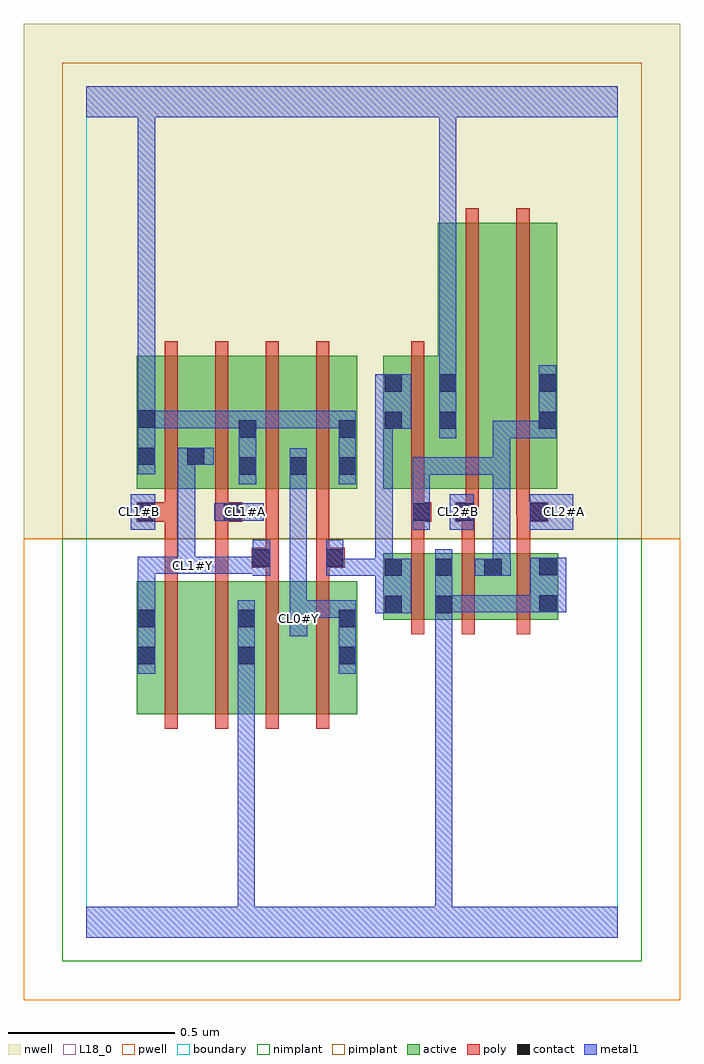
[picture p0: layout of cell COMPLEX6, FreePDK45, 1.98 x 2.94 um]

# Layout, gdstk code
import gdstk
lib = gdstk.Library(unit=1e-6, precision=1e-09)
def R(c, l, rs):  # rectangles x0, y0, x1, y1
    for r in rs: c.add(gdstk.rectangle(r[:2], r[2:], *l))
def A(c, l, x, y, w, h, nx, ny, dx, dy):  # array of equal rectangles
    R(c, l, [(x+i*dx, y+j*dy, x+i*dx+w, y+j*dy+h) for i in range(nx) for j in range(ny)])
active = (1, 0)
pwell = (2, 0)
nwell = (3, 0)
nimplant = (4, 0)
pimplant = (5, 0)
poly = (9, 0)
contact = (10, 0)
metal1 = (11, 0)
L18_0 = (18, 0)
boundary = (235, 0)

complex6 = lib.new_cell('COMPLEX6')
R(complex6, active, [(0.152,0.672,0.332,1.072), (0.332,0.672,0.512,1.072), (0.452,0.672,0.636,1.072), (0.636,0.672,0.816,1.072), (0.152,0.756,0.212,1.072), (0.452,0.756,0.512,1.072), (0.756,0.756,0.816,1.072), (0.894,0.956,0.954,1.156), (0.894,0.956,1.106,1.156), (1.046,0.956,1.106,1.156), (1.046,0.956,1.254,1.156), (1.194,0.956,1.254,1.156), (1.194,0.956,1.42,1.156), (1.36,0.956,1.42,1.156), (0.152,1.35,0.212,1.644), (0.152,1.35,0.36,1.75), (0.3,1.35,0.516,1.75), (0.456,1.35,0.516,1.644), (0.456,1.35,0.668,1.75), (0.608,1.35,0.668,1.644), (0.608,1.35,0.816,1.75), (0.756,1.35,0.816,1.644), (0.894,1.35,0.954,1.698), (0.894,1.35,1.118,1.75), (1.058,1.35,1.238,2.15), (1.058,1.35,1.118,1.698), (1.238,1.35,1.418,2.15), (1.358,1.35,1.418,2.044), (0.3,1.418,0.36,1.644)])
R(complex6, pwell, [(-0.188,-0.188,1.788,1.2)])
R(complex6, nwell, [(-0.188,1.2,1.788,2.748)])
R(complex6, nimplant, [(-0.072,-0.072,1.672,1.2)])
R(complex6, pimplant, [(-0.072,1.2,1.672,2.632)])
A(complex6, poly, 0.236, 0.628, 0.04, 0.488, 4, 2, 0.152, 0.678)
R(complex6, poly, [(0.978,0.912,1.018,1.2), (1.13,0.912,1.17,1.2), (1.296,0.912,1.336,1.2), (0.236,1.076,0.276,1.29), (0.388,1.076,0.428,1.29), (0.54,1.076,0.58,1.152), (0.692,1.076,0.732,1.152), (0.498,1.112,0.58,1.172), (0.692,1.112,0.732,1.152), (0.692,1.112,0.732,1.152), (0.692,1.112,0.778,1.172), (0.54,1.132,0.58,1.172), (0.54,1.132,0.58,1.172), (0.54,1.132,0.58,1.346), (0.692,1.132,0.732,1.346), (0.978,1.16,1.018,1.29), (1.13,1.16,1.17,1.29), (1.296,1.16,1.336,1.29), (0.152,1.25,0.276,1.31), (0.236,1.25,0.276,1.29), (0.236,1.25,0.276,1.29), (0.388,1.25,0.428,1.29), (0.388,1.25,0.428,1.29), (0.388,1.25,0.47,1.31), (0.978,1.25,1.018,1.29), (0.978,1.25,1.018,1.29), (0.978,1.25,1.038,1.31), (1.11,1.25,1.17,1.31), (1.296,1.25,1.39,1.31), (0.236,1.27,0.276,1.346), (0.388,1.27,0.428,1.346), (0.978,1.27,1.018,1.346), (1.13,1.27,1.17,1.31), (1.13,1.27,1.182,1.31), (1.142,1.27,1.182,1.346), (1.294,1.27,1.334,1.346), (1.294,1.27,1.336,1.31), (1.296,1.27,1.336,1.31), (0.978,1.306,1.018,1.794), (1.142,1.306,1.182,2.194), (1.294,1.306,1.334,2.194)])
R(complex6, contact, [(0.156,0.822,0.208,0.874), (0.456,0.822,0.508,0.874), (0.76,0.822,0.812,0.874), (0.156,0.934,0.208,0.986), (0.456,0.934,0.508,0.986), (0.76,0.934,0.812,0.986), (0.898,0.976,0.95,1.028), (1.05,0.976,1.102,1.028), (1.364,0.978,1.416,1.03), (0.898,1.088,0.95,1.14), (1.05,1.088,1.102,1.14), (1.198,1.088,1.25,1.14), (1.364,1.09,1.416,1.142), (0.502,1.116,0.554,1.168), (0.722,1.116,0.774,1.168), (0.156,1.254,0.208,1.306), (0.414,1.254,0.466,1.306), (0.982,1.254,1.034,1.306), (1.114,1.254,1.166,1.306), (1.334,1.254,1.386,1.306), (0.46,1.392,0.512,1.444), (0.612,1.392,0.664,1.444), (0.76,1.392,0.812,1.444), (0.156,1.422,0.208,1.474), (0.304,1.422,0.356,1.474), (0.46,1.504,0.512,1.556), (0.76,1.504,0.812,1.556), (0.898,1.53,0.95,1.582), (1.062,1.53,1.114,1.582), (1.362,1.53,1.414,1.582), (0.156,1.534,0.208,1.586), (0.898,1.642,0.95,1.694), (1.062,1.642,1.114,1.694), (1.362,1.642,1.414,1.694)])
R(complex6, metal1, [(0,0,1.6,0.092), (0.456,0.04,0.508,0.092), (0.456,0.04,0.508,0.092), (0.456,0.04,0.508,0.846), (1.05,0.04,1.102,0.092), (1.05,0.04,1.102,0.092), (1.05,0.04,1.102,0.092), (1.05,0.04,1.102,0.092), (1.05,0.04,1.102,0.092), (1.05,0.04,1.102,0.092), (1.05,0.04,1.102,0.092), (1.05,0.04,1.102,0.092), (1.05,0.04,1.102,0.092), (1.05,0.04,1.102,0.092), (1.05,0.04,1.102,0.092), (1.05,0.04,1.102,0.092), (1.05,0.04,1.102,0.092), (1.05,0.04,1.102,0.092), (1.05,0.04,1.102,1), (0.156,0.794,0.208,1.014), (0.456,0.794,0.508,0.846), (0.456,0.794,0.508,0.846), (0.456,0.794,0.508,0.846), (0.456,0.794,0.508,0.846), (0.456,0.794,0.508,0.846), (0.456,0.794,0.508,0.846), (0.456,0.794,0.508,0.846), (0.456,0.794,0.508,0.846), (0.456,0.794,0.508,0.846), (0.456,0.794,0.508,0.846), (0.456,0.794,0.508,1.014), (0.76,0.794,0.812,1.014), (0.612,0.906,0.666,1.014), (1.05,0.948,1.102,1), (1.05,0.948,1.102,1), (1.05,0.948,1.102,1.168), (0.156,0.962,0.208,1.146), (0.612,0.962,0.664,1.014), (0.612,0.962,0.664,1.014), (0.612,0.962,0.664,1.416), (0.614,0.962,0.812,1.014), (0.76,0.962,0.812,1.014), (0.76,0.962,0.812,1.014), (0.76,0.962,0.812,1.014), (0.76,0.962,0.812,1.014), (0.87,0.976,0.978,1.14), (1.05,0.978,1.276,1.03), (1.224,0.978,1.276,1.03), (1.224,0.978,1.276,1.03), (1.224,0.978,1.276,1.03), (1.224,0.978,1.388,1.03), (1.336,0.978,1.388,1.03), (1.336,0.978,1.388,1.03), (1.336,0.978,1.444,1.142), (0.502,1.088,0.554,1.196), (0.722,1.088,0.774,1.196), (0.722,1.088,0.922,1.14), (0.87,1.088,0.922,1.14), (0.87,1.088,0.922,1.14), (0.87,1.088,0.922,1.14), (0.87,1.088,0.922,1.14), (0.87,1.088,0.922,1.14), (0.87,1.088,0.922,1.14), (0.87,1.088,0.922,1.582), (1.17,1.088,1.278,1.14), (1.224,1.088,1.276,1.14), (1.224,1.088,1.276,1.14), (1.224,1.088,1.276,1.444), (0.156,1.094,0.208,1.146), (0.156,1.094,0.208,1.146), (0.156,1.094,0.208,1.146), (0.156,1.094,0.318,1.146), (0.266,1.094,0.374,1.146), (0.276,1.094,0.328,1.474), (0.322,1.094,0.374,1.146), (0.322,1.094,0.374,1.146), (0.322,1.094,0.554,1.146), (0.502,1.094,0.554,1.146), (0.502,1.094,0.554,1.146), (0.134,1.226,0.208,1.334), (0.982,1.226,1.034,1.334), (1.094,1.226,1.166,1.334), (1.334,1.226,1.466,1.334), (0.386,1.254,0.534,1.306), (0.982,1.282,1.034,1.334), (0.982,1.282,1.034,1.444), (0.46,1.364,0.512,1.584), (0.612,1.364,0.664,1.472), (0.76,1.364,0.812,1.584), (0.982,1.392,1.276,1.444), (1.224,1.392,1.276,1.444), (1.224,1.392,1.276,1.444), (1.224,1.392,1.276,1.444), (1.224,1.392,1.276,1.554), (0.156,1.394,0.208,1.614), (0.276,1.422,0.328,1.474), (0.276,1.422,0.328,1.474), (0.276,1.422,0.384,1.474), (1.062,1.502,1.114,1.722), (1.224,1.502,1.276,1.554), (1.224,1.502,1.414,1.554), (1.362,1.502,1.414,1.554), (1.362,1.502,1.414,1.554), (1.362,1.502,1.414,1.722), (0.87,1.53,0.978,1.694), (0.156,1.532,0.208,1.584), (0.156,1.532,0.208,1.584), (0.156,1.532,0.318,1.584), (0.266,1.532,0.318,1.584), (0.266,1.532,0.318,1.584), (0.266,1.532,0.318,1.584), (0.266,1.532,0.512,1.584), (0.46,1.532,0.664,1.584), (0.612,1.532,0.664,1.584), (0.612,1.532,0.664,1.584), (0.612,1.532,0.664,1.584), (0.612,1.532,0.812,1.584), (0.76,1.532,0.812,1.584), (0.76,1.532,0.812,1.584), (0.156,1.562,0.208,1.614), (0.156,1.562,0.208,1.614), (0.156,1.562,0.208,1.614), (0.156,1.562,0.208,1.614), (0.156,1.562,0.208,1.614), (0.156,1.562,0.208,1.614), (0.156,1.562,0.208,2.52), (1.062,1.67,1.114,2.52), (0,2.468,1.6,2.56), (0.156,2.468,0.208,2.52), (0.156,2.468,0.208,2.52), (0.156,2.468,0.208,2.52), (0.156,2.468,0.208,2.52), (0.156,2.468,0.208,2.52), (0.156,2.468,0.208,2.52), (0.156,2.468,0.208,2.52), (0.156,2.468,0.208,2.52), (0.156,2.468,0.208,2.52), (0.156,2.468,0.208,2.52), (1.062,2.468,1.114,2.52), (1.062,2.468,1.114,2.52), (1.062,2.468,1.114,2.52), (1.062,2.468,1.114,2.52), (1.062,2.468,1.114,2.52), (1.062,2.468,1.114,2.52), (1.062,2.468,1.114,2.52), (1.062,2.468,1.114,2.52)])
R(complex6, L18_0, [(0,0,1.6,0.092), (0.456,0.04,0.508,0.092), (0.456,0.04,0.508,0.092), (0.456,0.04,0.508,0.846), (1.05,0.04,1.102,0.092), (1.05,0.04,1.102,0.092), (1.05,0.04,1.102,0.092), (1.05,0.04,1.102,0.092), (1.05,0.04,1.102,0.092), (1.05,0.04,1.102,0.092), (1.05,0.04,1.102,0.092), (1.05,0.04,1.102,0.092), (1.05,0.04,1.102,0.092), (1.05,0.04,1.102,0.092), (1.05,0.04,1.102,0.092), (1.05,0.04,1.102,0.092), (1.05,0.04,1.102,0.092), (1.05,0.04,1.102,0.092), (1.05,0.04,1.102,1), (0.156,0.794,0.208,1.014), (0.456,0.794,0.508,1.014), (0.456,0.794,0.508,0.846), (0.456,0.794,0.508,0.846), (0.456,0.794,0.508,0.846), (0.456,0.794,0.508,0.846), (0.456,0.794,0.508,0.846), (0.456,0.794,0.508,0.846), (0.456,0.794,0.508,0.846), (0.456,0.794,0.508,0.846), (0.456,0.794,0.508,0.846), (0.456,0.794,0.508,0.846), (0.76,0.794,0.812,1.014), (0.612,0.906,0.666,1.014), (0.614,0.934,0.666,0.986), (1.05,0.948,1.102,1.168), (1.05,0.948,1.102,1), (1.05,0.948,1.102,1), (0.156,0.962,0.208,1.146), (0.612,0.962,0.664,1.014), (0.612,0.962,0.664,1.014), (0.612,0.962,0.664,1.416), (0.614,0.962,0.812,1.014), (0.76,0.962,0.812,1.014), (0.76,0.962,0.812,1.014), (0.76,0.962,0.812,1.014), (0.76,0.962,0.812,1.014), (1.05,0.978,1.276,1.03), (1.224,0.978,1.276,1.03), (1.224,0.978,1.276,1.03), (1.224,0.978,1.276,1.03), (1.224,0.978,1.388,1.03), (1.336,0.978,1.388,1.03), (1.336,0.978,1.388,1.03), (1.336,0.978,1.444,1.142), (0.502,1.088,0.554,1.196), (0.156,1.094,0.208,1.146), (0.156,1.094,0.208,1.146), (0.156,1.094,0.208,1.146), (0.156,1.094,0.318,1.146), (0.266,1.094,0.374,1.146), (0.276,1.094,0.328,1.474), (0.294,1.094,0.346,1.146), (0.322,1.094,0.374,1.146), (0.322,1.094,0.374,1.146), (0.322,1.094,0.554,1.146), (0.502,1.094,0.554,1.146), (0.502,1.094,0.554,1.146), (0.134,1.226,0.208,1.334), (1.094,1.226,1.166,1.334), (1.334,1.226,1.466,1.334), (0.134,1.254,0.186,1.306), (0.386,1.254,0.534,1.306), (0.454,1.254,0.506,1.306), (1.094,1.254,1.146,1.306), (1.414,1.254,1.466,1.306), (0.46,1.364,0.512,1.584), (0.612,1.364,0.664,1.472), (0.76,1.364,0.812,1.584), (0.156,1.394,0.208,1.614), (0.276,1.422,0.328,1.474), (0.276,1.422,0.328,1.474), (0.276,1.422,0.384,1.474), (1.062,1.502,1.114,1.722), (0.156,1.532,0.208,1.584), (0.156,1.532,0.208,1.584), (0.156,1.532,0.318,1.584), (0.266,1.532,0.318,1.584), (0.266,1.532,0.318,1.584), (0.266,1.532,0.318,1.584), (0.266,1.532,0.512,1.584), (0.46,1.532,0.664,1.584), (0.612,1.532,0.664,1.584), (0.612,1.532,0.664,1.584), (0.612,1.532,0.664,1.584), (0.612,1.532,0.812,1.584), (0.76,1.532,0.812,1.584), (0.76,1.532,0.812,1.584), (0.156,1.562,0.208,1.614), (0.156,1.562,0.208,1.614), (0.156,1.562,0.208,1.614), (0.156,1.562,0.208,1.614), (0.156,1.562,0.208,1.614), (0.156,1.562,0.208,1.614), (0.156,1.562,0.208,2.52), (1.062,1.67,1.114,2.52), (0,2.468,1.6,2.56), (0.156,2.468,0.208,2.52), (0.156,2.468,0.208,2.52), (0.156,2.468,0.208,2.52), (0.156,2.468,0.208,2.52), (0.156,2.468,0.208,2.52), (0.156,2.468,0.208,2.52), (0.156,2.468,0.208,2.52), (0.156,2.468,0.208,2.52), (0.156,2.468,0.208,2.52), (0.156,2.468,0.208,2.52), (1.062,2.468,1.114,2.52), (1.062,2.468,1.114,2.52), (1.062,2.468,1.114,2.52), (1.062,2.468,1.114,2.52), (1.062,2.468,1.114,2.52), (1.062,2.468,1.114,2.52), (1.062,2.468,1.114,2.52), (1.062,2.468,1.114,2.52)])
R(complex6, boundary, [(0,0,1.6,2.56)])
complex6.add(gdstk.Label('CL0#Y', (0.64,0.96), layer=11, texttype=0))
complex6.add(gdstk.Label('CL1#A', (0.48,1.28), layer=11, texttype=0))
complex6.add(gdstk.Label('CL1#B', (0.16,1.28), layer=11, texttype=0))
complex6.add(gdstk.Label('CL1#Y', (0.32,1.12), layer=11, texttype=0))
complex6.add(gdstk.Label('CL2#A', (1.44,1.28), layer=11, texttype=0))
complex6.add(gdstk.Label('CL2#B', (1.12,1.28), layer=11, texttype=0))

lib.write_gds('COMPLEX6.gds')
